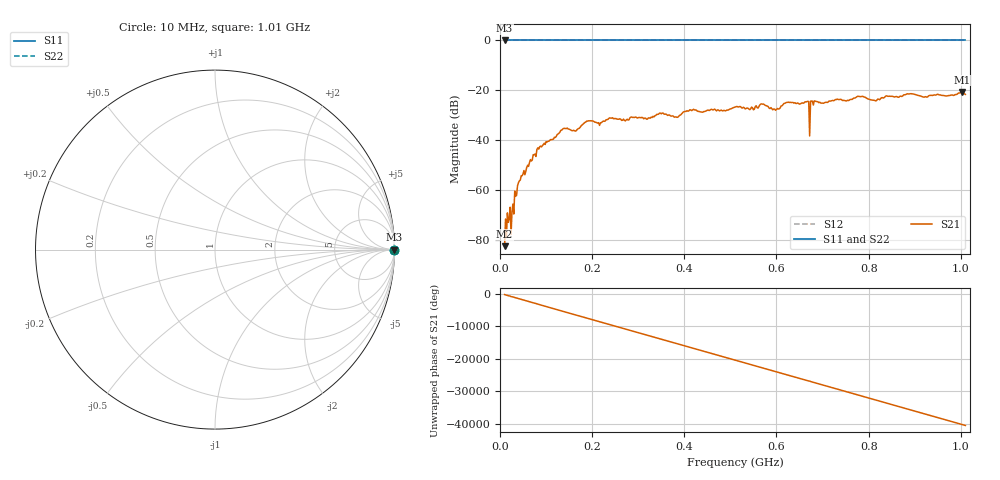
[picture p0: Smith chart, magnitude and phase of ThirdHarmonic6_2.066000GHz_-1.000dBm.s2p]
! 8/17/2025 12:45:19 AM
! C:\ANRITSUVNA\TEMP\TEMP.S2P
! CHANNEL.1
! TR.MEASUREMENT
! RAW.DATA
! RF.CORRECTION.OFF
! AVERAGING.OFF
! IF.BANDWIDTH: 5KHZ
! SWEEPTYPE:  FREQ.SWEEP(Linear)
! Reference Plane Port Info
! PORT:  PORT1  PORT2
! DISTANCE:  0  m  0  m
! TIME:  0  s  0  s
! PHASE.OFFSET:  0  deg.  0  deg.
! LOSS:  0  dB  0  dB
! REF.LOSS:  0  dB  0  dB
! REF.FREQ:  0  Hz  0  Hz
! Power Info
! POWER:  -20  dBm  -20  dBm
! EFF.POWER:  -20  dBm  -20  dBm
! SOURCE.ATTEN:  0  dB  0  dB
! TEST.ATTEN:  0  dB  0  dB
# GHZ S RI R 50.0
! FREQ.GHZ  S11RE  S11IM  S21RE  S21IM  S12RE  S12IM  S22RE  S22IM
!; PortSelection: Port_12
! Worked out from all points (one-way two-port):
!   501 points, 10 MHz to 1.01 GHz, reference 50 ohm
!   highest |S21| = -20.69 dB at 1.002 GHz (marker M1); lowest = -82.5 dB at 10 MHz (marker M2)
!   lowest |S11| = 0.0 dB at 10 MHz (marker M3)
!   |S11| at or under -10 dB: nowhere
!   |S22| runs from 0.0 to 0.0 dB; largest |S21 - S12| = 1.1
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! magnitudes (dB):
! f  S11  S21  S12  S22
! 10 MHz  0.0  -82.5  0.0  0.0
! 16 MHz  0.0  -69.1  0.0  0.0
! 28 MHz  0.0  -65.6  0.0  0.0
! 42 MHz  0.0  -56.3  0.0  0.0
! 84 MHz  0.0  -43.6  0.0  0.0
! 136 MHz  0.0  -35.5  0.0  0.0
! 162 MHz  0.0  -36.2  0.0  0.0
! 178 MHz  0.0  -33.9  0.0  0.0
! 344 MHz  0.0  -29.5  0.0  0.0
! 382 MHz  0.0  -30.6  0.0  0.0
! 416 MHz  0.0  -28.1  0.0  0.0
! 510 MHz  0.0  -26.7  0.0  0.0
! 570 MHz  0.0  -25.5  0.0  0.0
! 596 MHz  0.0  -27.5  0.0  0.0
! 622 MHz  0.0  -24.8  0.0  0.0
! 666 MHz  0.0  -24.5  0.0  0.0
! 668 MHz  0.0  -24.4  0.0  0.0
! 676 MHz  0.0  -24.3  0.0  0.0
! 678 MHz  0.0  -24.3  0.0  0.0
! 844 MHz  0.0  -22.4  0.0  0.0
! 1.002 GHz  0.0  -20.7  0.0  0.0
! 1.01 GHz  0.0  -21.6  0.0  0.0
